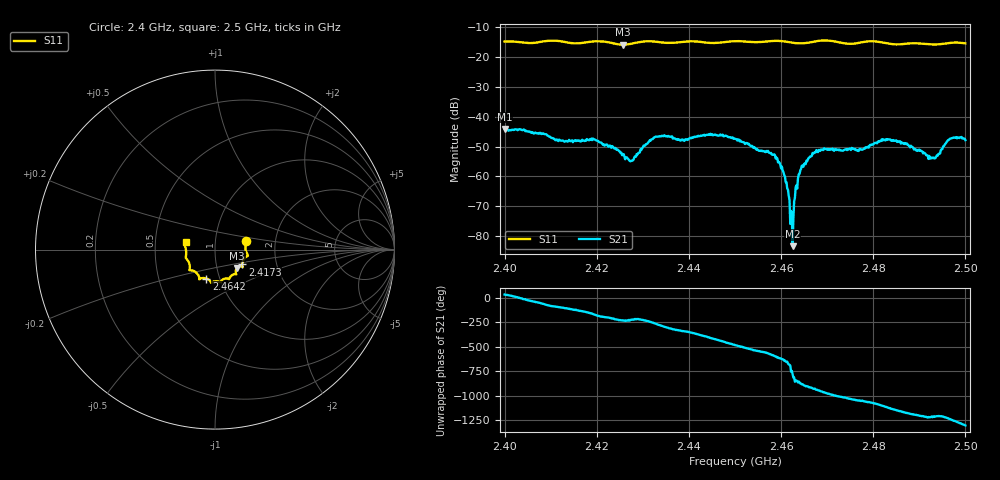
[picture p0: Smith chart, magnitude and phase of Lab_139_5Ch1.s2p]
# Hz S RI R 50
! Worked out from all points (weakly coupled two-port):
!   601 points, 2.4 GHz to 2.5 GHz, reference 50 ohm
!   highest |S21| = -44.13 dB at 2.4 GHz (marker M1); lowest = -83.3 dB at 2.4625 GHz (marker M2)
!   lowest |S11| = -15.9 dB at 2.4257 GHz (marker M3), VSWR 1.38, Z = 62.4 - j13.1 ohm
!   |S11| at or under -10 dB: start of sweep to end of sweep
!   S12 and S22 are empty: the file has one direction only
!   S11 on the Smith chart (normalised r, x): 2.4 GHz: 1.41, +0.14; 2.4173 GHz: 1.34, -0.23; 2.4642 GHz: 0.86, -0.29; 2.5 GHz: 0.72, +0.06
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2.4e9  0.1734 0.0494  0.00533 0.0032  0 0  0 0
2.416667e9  0.1529 -0.075  -0.00289 -0.00262  0 0  0 0
2.417333e9  0.1523 -0.0825  -0.00316 -0.00231  0 0  0 0
2.419667e9  0.1541 -0.097  -0.00409 -0.000327  0 0  0 0
2.425667e9  0.1224 -0.1024  -0.00142 0.00181  0 0  0 0
2.427667e9  0.1151 -0.1208  -0.00131 0.00127  0 0  0 0
2.433333e9  0.1126 -0.1366  0.00056 0.00462  0 0  0 0
2.45e9  0.0297 -0.1809  -0.00242 -0.00351  0 0  0 0
2.458667e9  -0.0206 -0.1839  -0.00117 0.00196  0 0  0 0
2.460667e9  -0.0248 -0.1797  0.000222 0.00104  0 0  0 0
2.461333e9  -0.0267 -0.1762  0.000248 0.000581  0 0  0 0
2.462167e9  -0.0304 -0.1713  0.000217 -0.000153  0 0  0 0
2.4625e9  -0.0325 -0.1693  3.14e-05 -6.06e-05  0 0  0 0
2.463333e9  -0.0392 -0.1647  -0.000401 -0.000589  0 0  0 0
2.464167e9  -0.0481 -0.1611  -0.00115 -0.000532  0 0  0 0
2.466667e9  -0.0762 -0.1597  -0.00207 0.00074  0 0  0 0
2.469167e9  -0.0874 -0.1665  -0.00114 0.00252  0 0  0 0
2.477333e9  -0.1295 -0.1162  0.00254 0.00123  0 0  0 0
2.483333e9  -0.1406 -0.0895  0.00301 -0.00289  0 0  0 0
2.492833e9  -0.1603 -0.0158  -0.00154 -0.00137  0 0  0 0
2.496667e9  -0.1697 0.0242  -0.00397 -0.00159  0 0  0 0
2.5e9  -0.1635 0.0415  -0.00296 0.00276  0 0  0 0
